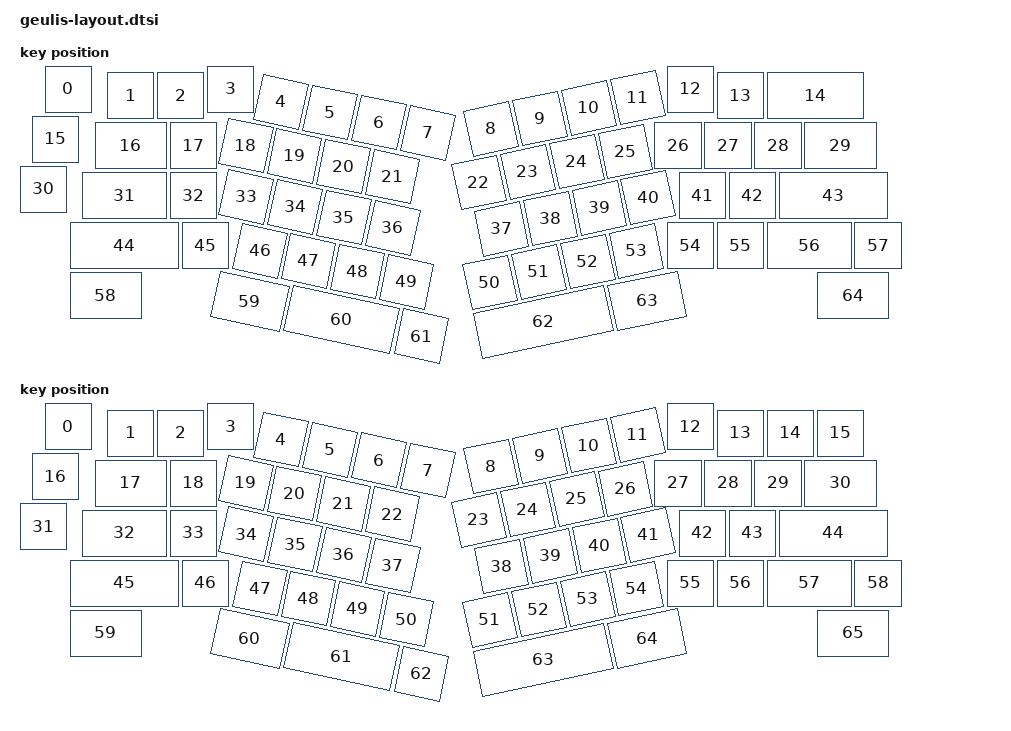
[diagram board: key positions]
#include <physical_layouts.dtsi>

/ {

    no_split_backspace_layout: default_layout {
        compatible = "zmk,physical-layout";
        display-name = "Default";

        keys  //                     w   h    x    y     rot    rx    ry
            = <&key_physical_attrs 100 100   50    0       0     0     0>
            , <&key_physical_attrs 100 100  175   13       0     0     0>
            , <&key_physical_attrs 100 100  275   13       0     0     0>
            , <&key_physical_attrs 100 100  375    0       0     0     0>
            , <&key_physical_attrs 100 100  486   13    1200   470    23>
            , <&key_physical_attrs 100 100  586   13    1200   470    23>
            , <&key_physical_attrs 100 100  686   13    1200   470    23>
            , <&key_physical_attrs 100 100  786   13    1200   470    23>
            , <&key_physical_attrs 100 100  886   88 (-1200)   901    86>
            , <&key_physical_attrs 100 100  986   88 (-1200)   901    86>
            , <&key_physical_attrs 100 100 1086   88 (-1200)   901    86>
            , <&key_physical_attrs 100 100 1186   88 (-1200)   901    86>
            , <&key_physical_attrs 100 100 1295    0       0     0     0>
            , <&key_physical_attrs 100 100 1395   13       0     0     0>
            , <&key_physical_attrs 200 100 1495   13       0     0     0>
            , <&key_physical_attrs 100 100   25  100       0     0     0>
            , <&key_physical_attrs 150 100  150  113       0     0     0>
            , <&key_physical_attrs 100 100  300  113       0     0     0>
            , <&key_physical_attrs 100 100  435  113    1200   470    23>
            , <&key_physical_attrs 100 100  535  113    1200   470    23>
            , <&key_physical_attrs 100 100  635  113    1200   470    23>
            , <&key_physical_attrs 100 100  735  113    1200   470    23>
            , <&key_physical_attrs 100 100  840  188 (-1200)   901    86>
            , <&key_physical_attrs 100 100  940  188 (-1200)   901    86>
            , <&key_physical_attrs 100 100 1040  188 (-1200)   901    86>
            , <&key_physical_attrs 100 100 1140  188 (-1200)   901    86>
            , <&key_physical_attrs 100 100 1270  113       0     0     0>
            , <&key_physical_attrs 100 100 1370  113       0     0     0>
            , <&key_physical_attrs 100 100 1470  113       0     0     0>
            , <&key_physical_attrs 150 100 1570  113       0     0     0>
            , <&key_physical_attrs 100 100    0  200       0     0     0>
            , <&key_physical_attrs 175 100  125  213       0     0     0>
            , <&key_physical_attrs 100 100  300  213       0     0     0>
            , <&key_physical_attrs 100 100  457  213    1200   470    23>
            , <&key_physical_attrs 100 100  557  213    1200   470    23>
            , <&key_physical_attrs 100 100  657  213    1200   470    23>
            , <&key_physical_attrs 100 100  757  213    1200   470    23>
            , <&key_physical_attrs 100 100  865  288 (-1200)   901    86>
            , <&key_physical_attrs 100 100  965  288 (-1200)   901    86>
            , <&key_physical_attrs 100 100 1065  288 (-1200)   901    86>
            , <&key_physical_attrs 100 100 1165  288 (-1200)   901    86>
            , <&key_physical_attrs 100 100 1318  213       0     0     0>
            , <&key_physical_attrs 100 100 1418  213       0     0     0>
            , <&key_physical_attrs 225 100 1519  213       0     0     0>
            , <&key_physical_attrs 225 100  100  313       0     0     0>
            , <&key_physical_attrs 100 100  325  313       0     0     0>
            , <&key_physical_attrs 100 100  507  313    1200   470    23>
            , <&key_physical_attrs 100 100  606  313    1200   470    23>
            , <&key_physical_attrs 100 100  706  313    1200   470    23>
            , <&key_physical_attrs 100 100  806  313    1200   470    23>
            , <&key_physical_attrs 100 100  820  388 (-1200)   901    86>
            , <&key_physical_attrs 100 100  920  388 (-1200)   901    86>
            , <&key_physical_attrs 100 100 1020  388 (-1200)   901    86>
            , <&key_physical_attrs 100 100 1120  388 (-1200)   901    86>
            , <&key_physical_attrs 100 100 1295  313       0     0     0>
            , <&key_physical_attrs 100 100 1395  313       0     0     0>
            , <&key_physical_attrs 175 100 1495  313       0     0     0>
            , <&key_physical_attrs 100 100 1670  313       0     0     0>
            , <&key_physical_attrs 150 100  100  413       0     0     0>
            , <&key_physical_attrs 150 100  483  416    1200   470    23>
            , <&key_physical_attrs 225 100  632  413    1200   470    23>
            , <&key_physical_attrs 100 100  858  413    1200   470    23>
            , <&key_physical_attrs 275 100  820  488 (-1200)   901    86>
            , <&key_physical_attrs 150 100 1095  490 (-1200)   901    86>
            , <&key_physical_attrs 150 100 1595  413       0     0     0>
            ;
    };

    split_backspace_layout: split_backspace_layout {
        compatible = "zmk,physical-layout";
        display-name = "Split backspace";

        keys  //                     w   h    x    y     rot    rx    ry
            = <&key_physical_attrs 100 100   50    0       0     0     0>
            , <&key_physical_attrs 100 100  175   13       0     0     0>
            , <&key_physical_attrs 100 100  275   13       0     0     0>
            , <&key_physical_attrs 100 100  375    0       0     0     0>
            , <&key_physical_attrs 100 100  486   13    1200   470    23>
            , <&key_physical_attrs 100 100  586   13    1200   470    23>
            , <&key_physical_attrs 100 100  686   13    1200   470    23>
            , <&key_physical_attrs 100 100  786   13    1200   470    23>
            , <&key_physical_attrs 100 100  886   88 (-1200)   901    86>
            , <&key_physical_attrs 100 100  986   88 (-1200)   901    86>
            , <&key_physical_attrs 100 100 1086   88 (-1200)   901    86>
            , <&key_physical_attrs 100 100 1186   88 (-1200)   901    86>
            , <&key_physical_attrs 100 100 1295    0       0     0     0>
            , <&key_physical_attrs 100 100 1395   13       0     0     0>
            , <&key_physical_attrs 100 100 1495   13       0     0     0>
            , <&key_physical_attrs 100 100 1595   13       0     0     0>
            , <&key_physical_attrs 100 100   25  100       0     0     0>
            , <&key_physical_attrs 150 100  150  113       0     0     0>
            , <&key_physical_attrs 100 100  300  113       0     0     0>
            , <&key_physical_attrs 100 100  435  113    1200   470    23>
            , <&key_physical_attrs 100 100  535  113    1200   470    23>
            , <&key_physical_attrs 100 100  635  113    1200   470    23>
            , <&key_physical_attrs 100 100  735  113    1200   470    23>
            , <&key_physical_attrs 100 100  840  188 (-1200)   901    86>
            , <&key_physical_attrs 100 100  940  188 (-1200)   901    86>
            , <&key_physical_attrs 100 100 1040  188 (-1200)   901    86>
            , <&key_physical_attrs 100 100 1140  188 (-1200)   901    86>
            , <&key_physical_attrs 100 100 1270  113       0     0     0>
            , <&key_physical_attrs 100 100 1370  113       0     0     0>
            , <&key_physical_attrs 100 100 1470  113       0     0     0>
            , <&key_physical_attrs 150 100 1570  113       0     0     0>
            , <&key_physical_attrs 100 100    0  200       0     0     0>
            , <&key_physical_attrs 175 100  125  213       0     0     0>
            , <&key_physical_attrs 100 100  300  213       0     0     0>
            , <&key_physical_attrs 100 100  457  213    1200   470    23>
            , <&key_physical_attrs 100 100  557  213    1200   470    23>
            , <&key_physical_attrs 100 100  657  213    1200   470    23>
            , <&key_physical_attrs 100 100  757  213    1200   470    23>
            , <&key_physical_attrs 100 100  865  288 (-1200)   901    86>
            , <&key_physical_attrs 100 100  965  288 (-1200)   901    86>
            , <&key_physical_attrs 100 100 1065  288 (-1200)   901    86>
            , <&key_physical_attrs 100 100 1165  288 (-1200)   901    86>
            , <&key_physical_attrs 100 100 1318  213       0     0     0>
            , <&key_physical_attrs 100 100 1418  213       0     0     0>
            , <&key_physical_attrs 225 100 1519  213       0     0     0>
            , <&key_physical_attrs 225 100  100  313       0     0     0>
            , <&key_physical_attrs 100 100  325  313       0     0     0>
            , <&key_physical_attrs 100 100  507  313    1200   470    23>
            , <&key_physical_attrs 100 100  606  313    1200   470    23>
            , <&key_physical_attrs 100 100  706  313    1200   470    23>
            , <&key_physical_attrs 100 100  806  313    1200   470    23>
            , <&key_physical_attrs 100 100  820  388 (-1200)   901    86>
            , <&key_physical_attrs 100 100  920  388 (-1200)   901    86>
            , <&key_physical_attrs 100 100 1020  388 (-1200)   901    86>
            , <&key_physical_attrs 100 100 1120  388 (-1200)   901    86>
            , <&key_physical_attrs 100 100 1295  313       0     0     0>
            , <&key_physical_attrs 100 100 1395  313       0     0     0>
            , <&key_physical_attrs 175 100 1495  313       0     0     0>
            , <&key_physical_attrs 100 100 1670  313       0     0     0>
            , <&key_physical_attrs 150 100  100  413       0     0     0>
            , <&key_physical_attrs 150 100  483  416    1200   470    23>
            , <&key_physical_attrs 225 100  632  413    1200   470    23>
            , <&key_physical_attrs 100 100  858  413    1200   470    23>
            , <&key_physical_attrs 275 100  820  488 (-1200)   901    86>
            , <&key_physical_attrs 150 100 1095  490 (-1200)   901    86>
            , <&key_physical_attrs 150 100 1595  413       0     0     0>
            ;
    };

    position_map {
        compatible = "zmk,physical-layout-position-map";

        complete;

        no_split_backspace_layout {
            physical-layout = <&no_split_backspace_layout>;
            positions = <14 65>;
        };

        split_backspace_layout {
            physical-layout = <&split_backspace_layout>;
            positions = <14 15>;
        };
    };

    // geulis_position_map: geulis_position_map {
    //      compatible = "zmk,physical-layout-position-map";
    //      complete;

    //      default {
    //         physical-layout = <&no_split_backspace_layout>;

    //         positions = <0 1 2 3 4 5 6 7 8 9 10 11 12 13 14 >
    //                   , <1 17 18 19 20 21 22 23 24 25 26 27 28 29 30>
    //                   , <31 32 33 34 35 36 37 38 39 40 41 42 43 44>
    //                   , <45 46 47 48 49 50 51 52 53 54 55 56 57>
    //                   , <58 59 60 61 62 63 64 65>;
            
    //      };

    //      split_backspace {
    //         physical-layout = <&split_backspace_layout>;

    //         positions = <0 1 2 3 4 5 6 7 8 9 10 11 12 13 14 15>
    //                   , <16 17 18 19 20 21 22 23 24 25 26 27 28 29 30>
    //                   , <31 32 33 34 35 36 37 38 39 40 41 42 43 44>
    //                   , <45 46 47 48 49 50 51 52 53 54 55 56 57>
    //                   , <58 59 60 61 62 63 64 65>;
    //      };

    // };
};
